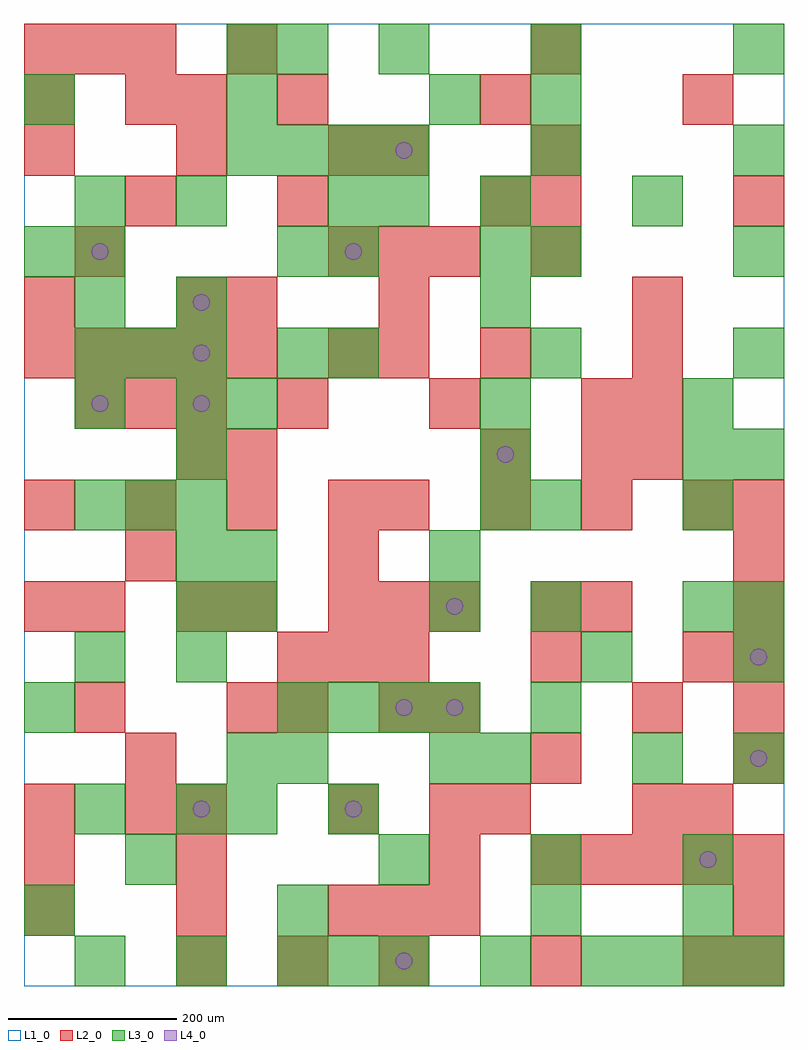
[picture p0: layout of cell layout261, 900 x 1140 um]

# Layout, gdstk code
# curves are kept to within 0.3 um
import gdstk
lib = gdstk.Library(unit=1e-6, precision=1e-09)
def R(c, l, rs):  # rectangles x0, y0, x1, y1
    for r in rs: c.add(gdstk.rectangle(r[:2], r[2:], *l))
def A(c, l, x, y, w, h, nx, ny, dx, dy):  # array of equal rectangles
    R(c, l, [(x+i*dx, y+j*dy, x+i*dx+w, y+j*dy+h) for i in range(nx) for j in range(ny)])
def P(c, l, *ps):  # polygons
    for p in ps: c.add(gdstk.Polygon(p, *l))
L1_0 = (1, 0)
L2_0 = (2, 0)
L3_0 = (3, 0)
L4_0 = (4, 0)

layout261 = lib.new_cell('layout261')
R(layout261, L1_0, [(0,0,900,1140)])
A(layout261, L2_0, 180, 0, 60, 60, 3, 1, 120, 0)
A(layout261, L2_0, 780, 0, 60, 60, 1, 3, 0, 180)
A(layout261, L2_0, 0, 60, 60, 60, 3, 2, 180, 900)
A(layout261, L2_0, 480, 60, 60, 60, 1, 3, 0, 60)
A(layout261, L2_0, 600, 120, 60, 60, 5, 1, 60, 0)
A(layout261, L2_0, 840, 240, 60, 60, 1, 6, 0, 60)
A(layout261, L2_0, 300, 360, 60, 60, 3, 1, 60, 0)
A(layout261, L2_0, 180, 420, 60, 60, 1, 3, 0, 180)
A(layout261, L2_0, 240, 420, 60, 60, 1, 3, 0, 180)
A(layout261, L2_0, 360, 420, 60, 60, 3, 2, 60, 420)
A(layout261, L2_0, 0, 540, 60, 60, 4, 1, 120, 0)
A(layout261, L2_0, 420, 540, 60, 60, 4, 1, 120, 0)
A(layout261, L2_0, 720, 600, 60, 60, 1, 4, 0, 60)
A(layout261, L2_0, 60, 660, 60, 60, 3, 1, 60, 0)
A(layout261, L2_0, 300, 660, 60, 60, 3, 1, 180, 0)
A(layout261, L2_0, 0, 720, 60, 60, 5, 1, 60, 0)
A(layout261, L2_0, 600, 840, 60, 60, 1, 3, 0, 60)
A(layout261, L2_0, 300, 1020, 60, 60, 3, 1, 240, 0)
A(layout261, L2_0, 0, 1080, 60, 60, 3, 1, 60, 0)
R(layout261, L2_0, [(600,0,660,60), (840,0,900,60), (420,60,480,120), (840,60,900,120), (0,120,60,180), (180,120,240,180), (0,180,60,240), (120,180,180,240), (180,180,240,240), (360,180,420,240), (540,180,600,240), (720,180,780,240), (120,240,180,300), (600,240,660,300), (60,300,120,360), (240,300,300,360), (300,300,360,360), (420,300,480,360), (480,300,540,360), (720,300,780,360), (600,360,660,420), (0,420,60,480), (60,420,120,480), (600,420,660,480), (660,420,720,480), (120,480,180,540), (360,480,420,540), (540,600,600,660), (660,600,720,660), (360,720,420,780), (420,720,480,780), (540,720,600,780), (0,780,60,840), (420,780,480,840), (60,840,120,900), (120,900,180,960), (300,900,360,960), (540,900,600,960), (840,900,900,960), (420,960,480,1020), (0,1020,60,1080), (120,1020,180,1080), (180,1020,240,1080), (240,1080,300,1140), (600,1080,660,1140)])
A(layout261, L3_0, 60, 0, 60, 60, 3, 1, 120, 0)
A(layout261, L3_0, 420, 0, 60, 60, 3, 1, 120, 0)
A(layout261, L3_0, 720, 0, 60, 60, 3, 1, 60, 0)
A(layout261, L3_0, 0, 60, 60, 60, 3, 1, 300, 0)
A(layout261, L3_0, 420, 120, 60, 60, 3, 1, 180, 0)
A(layout261, L3_0, 300, 300, 60, 60, 4, 1, 60, 0)
A(layout261, L3_0, 600, 300, 60, 60, 1, 3, 0, 120)
A(layout261, L3_0, 180, 360, 60, 60, 1, 3, 0, 60)
A(layout261, L3_0, 60, 540, 60, 60, 3, 2, 60, 180)
A(layout261, L3_0, 540, 540, 60, 60, 1, 3, 0, 60)
A(layout261, L3_0, 780, 540, 60, 60, 1, 3, 0, 60)
A(layout261, L3_0, 180, 660, 60, 60, 1, 3, 0, 120)
A(layout261, L3_0, 360, 720, 60, 60, 3, 1, 240, 0)
A(layout261, L3_0, 60, 780, 60, 60, 1, 3, 0, 60)
A(layout261, L3_0, 540, 780, 60, 60, 1, 3, 0, 60)
A(layout261, L3_0, 840, 840, 60, 60, 1, 3, 0, 120)
A(layout261, L3_0, 240, 960, 60, 60, 4, 1, 60, 0)
A(layout261, L3_0, 600, 960, 60, 60, 1, 3, 0, 60)
A(layout261, L3_0, 0, 1020, 60, 60, 3, 1, 240, 0)
R(layout261, L3_0, [(360,0,420,60), (780,60,840,120), (120,120,180,180), (60,180,120,240), (180,180,240,240), (240,180,300,240), (360,180,420,240), (240,240,300,300), (300,240,360,300), (480,240,540,300), (540,240,600,300), (720,240,780,300), (840,240,900,300), (0,300,60,360), (60,360,120,420), (660,360,720,420), (840,360,900,420), (240,420,300,480), (480,420,540,480), (780,420,840,480), (840,420,900,480), (240,480,300,540), (480,480,540,540), (180,600,240,660), (840,600,900,660), (60,660,120,720), (240,660,300,720), (300,720,360,780), (0,840,60,900), (300,840,360,900), (360,840,420,900), (600,840,660,900), (360,900,420,960), (420,900,480,960), (720,900,780,960), (240,1080,300,1140), (300,1080,360,1140), (420,1080,480,1140)])
P(layout261, L4_0, [(100,690),(99.239,693.827),(97.071,697.071),(93.827,699.239),(90,700),(86.173,699.239),(82.929,697.071),(80.761,693.827),(80,690),(80.761,686.173),(82.929,682.929),(86.173,680.761),(90,680),(93.827,680.761),(97.071,682.929),(99.239,686.173)],
  [(100,870),(99.239,873.827),(97.071,877.071),(93.827,879.239),(90,880),(86.173,879.239),(82.929,877.071),(80.761,873.827),(80,870),(80.761,866.173),(82.929,862.929),(86.173,860.761),(90,860),(93.827,860.761),(97.071,862.929),(99.239,866.173)],
  [(220,210),(219.239,213.827),(217.071,217.071),(213.827,219.239),(210,220),(206.173,219.239),(202.929,217.071),(200.761,213.827),(200,210),(200.761,206.173),(202.929,202.929),(206.173,200.761),(210,200),(213.827,200.761),(217.071,202.929),(219.239,206.173)],
  [(220,690),(219.239,693.827),(217.071,697.071),(213.827,699.239),(210,700),(206.173,699.239),(202.929,697.071),(200.761,693.827),(200,690),(200.761,686.173),(202.929,682.929),(206.173,680.761),(210,680),(213.827,680.761),(217.071,682.929),(219.239,686.173)],
  [(220,750),(219.239,753.827),(217.071,757.071),(213.827,759.239),(210,760),(206.173,759.239),(202.929,757.071),(200.761,753.827),(200,750),(200.761,746.173),(202.929,742.929),(206.173,740.761),(210,740),(213.827,740.761),(217.071,742.929),(219.239,746.173)],
  [(220,810),(219.239,813.827),(217.071,817.071),(213.827,819.239),(210,820),(206.173,819.239),(202.929,817.071),(200.761,813.827),(200,810),(200.761,806.173),(202.929,802.929),(206.173,800.761),(210,800),(213.827,800.761),(217.071,802.929),(219.239,806.173)],
  [(400,210),(399.239,213.827),(397.071,217.071),(393.827,219.239),(390,220),(386.173,219.239),(382.929,217.071),(380.761,213.827),(380,210),(380.761,206.173),(382.929,202.929),(386.173,200.761),(390,200),(393.827,200.761),(397.071,202.929),(399.239,206.173)],
  [(400,870),(399.239,873.827),(397.071,877.071),(393.827,879.239),(390,880),(386.173,879.239),(382.929,877.071),(380.761,873.827),(380,870),(380.761,866.173),(382.929,862.929),(386.173,860.761),(390,860),(393.827,860.761),(397.071,862.929),(399.239,866.173)],
  [(460,30),(459.239,33.827),(457.071,37.071),(453.827,39.239),(450,40),(446.173,39.239),(442.929,37.071),(440.761,33.827),(440,30),(440.761,26.173),(442.929,22.929),(446.173,20.761),(450,20),(453.827,20.761),(457.071,22.929),(459.239,26.173)],
  [(460,330),(459.239,333.827),(457.071,337.071),(453.827,339.239),(450,340),(446.173,339.239),(442.929,337.071),(440.761,333.827),(440,330),(440.761,326.173),(442.929,322.929),(446.173,320.761),(450,320),(453.827,320.761),(457.071,322.929),(459.239,326.173)],
  [(460,990),(459.239,993.827),(457.071,997.071),(453.827,999.239),(450,1000),(446.173,999.239),(442.929,997.071),(440.761,993.827),(440,990),(440.761,986.173),(442.929,982.929),(446.173,980.761),(450,980),(453.827,980.761),(457.071,982.929),(459.239,986.173)],
  [(520,330),(519.239,333.827),(517.071,337.071),(513.827,339.239),(510,340),(506.173,339.239),(502.929,337.071),(500.761,333.827),(500,330),(500.761,326.173),(502.929,322.929),(506.173,320.761),(510,320),(513.827,320.761),(517.071,322.929),(519.239,326.173)],
  [(520,450),(519.239,453.827),(517.071,457.071),(513.827,459.239),(510,460),(506.173,459.239),(502.929,457.071),(500.761,453.827),(500,450),(500.761,446.173),(502.929,442.929),(506.173,440.761),(510,440),(513.827,440.761),(517.071,442.929),(519.239,446.173)],
  [(580,630),(579.239,633.827),(577.071,637.071),(573.827,639.239),(570,640),(566.173,639.239),(562.929,637.071),(560.761,633.827),(560,630),(560.761,626.173),(562.929,622.929),(566.173,620.761),(570,620),(573.827,620.761),(577.071,622.929),(579.239,626.173)],
  [(820,150),(819.239,153.827),(817.071,157.071),(813.827,159.239),(810,160),(806.173,159.239),(802.929,157.071),(800.761,153.827),(800,150),(800.761,146.173),(802.929,142.929),(806.173,140.761),(810,140),(813.827,140.761),(817.071,142.929),(819.239,146.173)],
  [(880,270),(879.239,273.827),(877.071,277.071),(873.827,279.239),(870,280),(866.173,279.239),(862.929,277.071),(860.761,273.827),(860,270),(860.761,266.173),(862.929,262.929),(866.173,260.761),(870,260),(873.827,260.761),(877.071,262.929),(879.239,266.173)],
  [(880,390),(879.239,393.827),(877.071,397.071),(873.827,399.239),(870,400),(866.173,399.239),(862.929,397.071),(860.761,393.827),(860,390),(860.761,386.173),(862.929,382.929),(866.173,380.761),(870,380),(873.827,380.761),(877.071,382.929),(879.239,386.173)])

lib.write_gds('layout261.gds')
